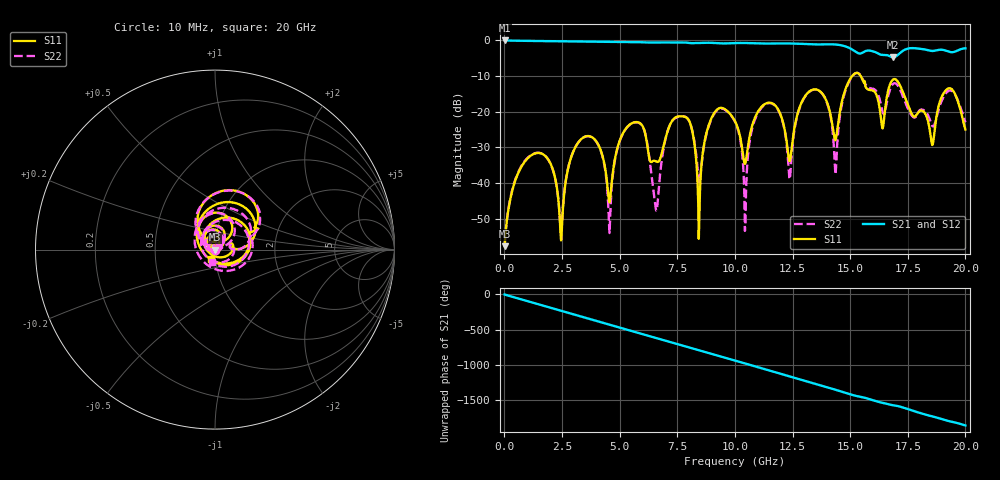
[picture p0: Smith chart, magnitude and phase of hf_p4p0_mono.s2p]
! Stitch-density study - 40 x 12 mm symmetric stripline, cut at x=20 mm
! Case: hf_p4p0_mono
! Sweep: 10 MHz - 20 GHz, 25 MHz step, 4 cores
# GHz S MA R 50.000000
! Terminal data exported
! Port[1] = U1.PAD1.SIG
! Port[2] = U2.PAD1.SIG
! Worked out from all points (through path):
!   801 points, 10 MHz to 20 GHz, reference 50 ohm
!   highest |S21| = -0.01 dB at 10 MHz (marker M1); lowest = -4.8 dB at 16.86 GHz (marker M2)
!   group delay of S21, straight-line fit = 258 ps
!   lowest |S11| = -57.7 dB at 10 MHz (marker M3), VSWR 1.00, Z = 50.1 + j0.00924 ohm
!   |S11| at or under -10 dB: start of sweep to 15.09 GHz; 15.46 GHz to end of sweep
!   |S22| runs from -57.7 to -9.1 dB; largest |S21 - S12| = 4.4e-14
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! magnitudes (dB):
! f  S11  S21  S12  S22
! 10 MHz  -57.7  0.0  0.0  -57.7
! 1.335 GHz  -31.7  -0.2  -0.2  -31.6
! 2.46 GHz  -56.0  -0.2  -0.2  -53.3
! 3.36 GHz  -27.5  -0.3  -0.3  -27.5
! 4.56 GHz  -45.4  -0.4  -0.4  -54.0
! 5.01 GHz  -28.0  -0.4  -0.4  -28.1
! 5.86 GHz  -23.1  -0.5  -0.5  -23.2
! 6.685 GHz  -34.0  -0.6  -0.6  -42.4
! 7.36 GHz  -21.9  -0.6  -0.6  -22.0
! 8.06 GHz  -23.2  -0.7  -0.7  -23.3
! 8.435 GHz  -55.6  -0.7  -0.7  -39.3
! 9.035 GHz  -21.1  -0.7  -0.7  -21.3
! 10.01 GHz  -22.7  -0.7  -0.7  -22.9
! 10.46 GHz  -34.3  -0.7  -0.7  -50.7
! 11.09 GHz  -19.2  -0.9  -0.9  -19.4
! 12.38 GHz  -33.8  -0.9  -0.9  -38.9
! 13.36 GHz  -13.8  -1.1  -1.1  -13.9
! 14.36 GHz  -28.0  -1.1  -1.1  -37.6
! 15.13 GHz  -9.6  -2.7  -2.7  -9.7
! 16.68 GHz  -13.2  -4.3  -4.3  -14.7
! 16.86 GHz  -11.0  -4.8  -4.8  -12.2
! 20 GHz  -25.0  -2.2  -2.2  -23.0
